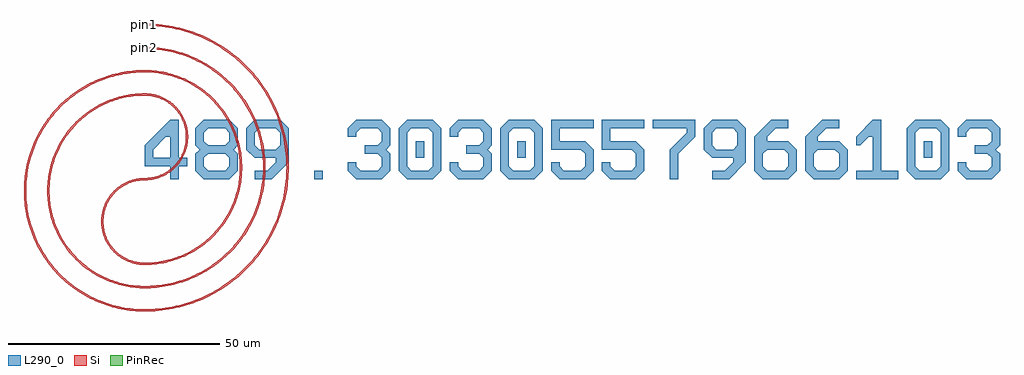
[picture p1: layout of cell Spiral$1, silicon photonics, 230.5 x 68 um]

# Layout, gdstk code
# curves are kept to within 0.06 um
import gdstk
lib = gdstk.Library(unit=1e-6, precision=1e-09)
def R(c, l, rs):  # rectangles x0, y0, x1, y1
    for r in rs: c.add(gdstk.rectangle(r[:2], r[2:], *l))
def P(c, l, *ps):  # polygons
    for p in ps: c.add(gdstk.Polygon(p, *l))
Si = (1, 0)
PinRec = (1, 10)
L290_0 = (290, 0)

spiral_1 = lib.new_cell('Spiral$1')
P(spiral_1, Si, [(0,-0.25),(0,0.25),(1.194,0.323),(2.369,0.542),(3.509,0.903),(4.384,1.291),(5.808,2.169),(7.061,3.277),(8.237,4.784),(9.097,6.491),(9.563,8.098),(9.75,10),(9.563,11.902),(9.097,13.509),(8.237,15.216),(7.061,16.723),(5.808,17.831),(4.384,18.709),(3.509,19.097),(2.369,19.458),(1.194,19.677),(0,19.75),(0,20.25),(1.005,20.201),(2,20.053),(2.975,19.809),(3.923,19.47),(5.695,18.523),(7.248,17.248),(8.523,15.695),(9.47,13.923),(9.809,12.975),(10.053,12),(10.201,11.005),(10.25,10),(10.201,8.995),(10.053,8),(9.809,7.025),(9.47,6.077),(8.523,4.305),(7.248,2.752),(5.695,1.477),(3.923,0.53),(2.975,0.191),(2,-0.053),(1.005,-0.201)],
  [(0,-20.25),(-1.005,-20.201),(-2,-20.053),(-3.923,-19.47),(-5.695,-18.523),(-7.248,-17.248),(-8.523,-15.695),(-9.47,-13.923),(-10.053,-12),(-10.201,-11.005),(-10.25,-10),(-10.201,-8.995),(-10.001,-7.754),(-9.371,-5.846),(-8.792,-4.73),(-8.233,-3.894),(-7.424,-2.932),(-6.695,-2.239),(-5.052,-1.082),(-4.154,-0.629),(-3.215,-0.267),(-1.504,0.139),(0.956,0.297),(2.136,0.487),(3.509,0.903),(4.806,1.517),(6.185,2.463),(7.537,3.815),(8.599,5.404),(9.258,6.942),(9.563,8.098),(9.724,9.283),(9.747,10.239),(9.644,11.431),(9.458,12.369),(9.097,13.509),(8.599,14.596),(7.971,15.614),(7.224,16.548),(6.548,17.224),(5.013,18.363),(3.951,18.914),(2.6,19.397),(1.194,19.677),(0,19.75),(0,20.25),(1.005,20.201),(2,20.053),(3.923,19.47),(5.695,18.523),(7.248,17.248),(8.523,15.695),(9.47,13.923),(10.053,12),(10.201,11.005),(10.25,10),(10.201,8.995),(10.001,7.754),(9.371,5.846),(8.792,4.73),(8.233,3.894),(7.424,2.932),(6.695,2.239),(5.052,1.082),(4.154,0.629),(3.215,0.267),(1.504,-0.139),(-0.956,-0.297),(-2.136,-0.487),(-3.509,-0.903),(-4.806,-1.517),(-6.185,-2.463),(-7.537,-3.815),(-8.599,-5.404),(-9.258,-6.942),(-9.563,-8.098),(-9.724,-9.283),(-9.747,-10.239),(-9.644,-11.431),(-9.458,-12.369),(-9.097,-13.509),(-8.599,-14.596),(-7.971,-15.614),(-7.224,-16.548),(-6.548,-17.224),(-5.013,-18.363),(-3.951,-18.914),(-2.6,-19.397),(-1.194,-19.677),(0,-19.75)],
  [(0,-20.25),(0,-19.75),(2.205,-19.642),(4.39,-19.318),(6.531,-18.781),(9.118,-17.82),(11.09,-16.827),(12.956,-15.646),(14.274,-14.643),(15.91,-13.16),(17.393,-11.524),(18.708,-9.75),(19.843,-7.856),(20.787,-5.86),(21.531,-3.781),(22.068,-1.64),(22.392,0.545),(22.5,2.75),(22.392,4.955),(22.068,7.14),(21.531,9.281),(20.787,11.36),(19.843,13.356),(18.708,15.25),(17.393,17.024),(15.91,18.66),(14.274,20.143),(12.956,21.146),(11.09,22.327),(9.118,23.32),(6.531,24.281),(4.39,24.818),(2.205,25.142),(0,25.25),(0,25.75),(2.254,25.639),(4.487,25.308),(6.677,24.76),(8.802,23.999),(10.842,23.034),(12.778,21.874),(14.591,20.529),(16.263,19.013),(17.779,17.341),(19.124,15.528),(20.284,13.592),(21.249,11.552),(22.01,9.427),(22.558,7.237),(22.889,5.004),(23,2.75),(22.889,0.496),(22.558,-1.737),(22.01,-3.927),(21.249,-6.052),(20.284,-8.092),(19.124,-10.028),(17.779,-11.841),(16.263,-13.513),(14.591,-15.029),(12.778,-16.374),(10.842,-17.534),(8.802,-18.499),(6.677,-19.26),(4.487,-19.808),(2.254,-20.139)],
  [(0,-25.75),(-2.254,-25.639),(-4.487,-25.308),(-6.677,-24.76),(-8.802,-23.999),(-10.842,-23.034),(-12.778,-21.874),(-14.591,-20.529),(-16.263,-19.013),(-17.779,-17.341),(-19.124,-15.528),(-20.284,-13.592),(-21.249,-11.552),(-22.01,-9.427),(-22.558,-7.237),(-22.889,-5.004),(-23,-2.75),(-22.889,-0.496),(-22.558,1.737),(-22.01,3.927),(-21.249,6.052),(-20.284,8.092),(-19.124,10.028),(-17.779,11.841),(-16.263,13.513),(-14.591,15.029),(-12.778,16.374),(-10.842,17.534),(-8.802,18.499),(-6.677,19.26),(-4.487,19.808),(-2.254,20.139),(0,20.25),(0,19.75),(-2.205,19.642),(-4.39,19.318),(-6.531,18.781),(-9.118,17.82),(-11.09,16.827),(-12.956,15.646),(-14.274,14.643),(-15.91,13.16),(-17.393,11.524),(-18.708,9.75),(-19.843,7.856),(-20.787,5.86),(-21.531,3.781),(-22.068,1.64),(-22.392,-0.545),(-22.5,-2.75),(-22.392,-4.955),(-22.068,-7.14),(-21.531,-9.281),(-20.787,-11.36),(-19.843,-13.356),(-18.708,-15.25),(-17.393,-17.024),(-15.91,-18.66),(-14.274,-20.143),(-12.956,-21.146),(-11.09,-22.327),(-9.118,-23.32),(-6.531,-24.281),(-4.39,-24.818),(-2.205,-25.142),(0,-25.25)],
  [(0,-25.75),(0,-25.25),(2.744,-25.115),(4.787,-24.838),(6.135,-24.57),(8.783,-23.837),(11.347,-22.848),(13.801,-21.612),(16.123,-20.142),(18.289,-18.452),(19.799,-17.049),(21.644,-15.013),(23.281,-12.806),(24.694,-10.449),(25.869,-7.965),(26.794,-5.378),(27.462,-2.713),(27.865,0.006),(28,2.75),(27.865,5.494),(27.462,8.213),(26.794,10.878),(25.869,13.465),(24.694,15.949),(23.281,18.306),(21.644,20.513),(19.799,22.549),(18.289,23.952),(16.123,25.642),(13.801,27.112),(11.347,28.348),(8.783,29.337),(6.135,30.07),(4.787,30.338),(2.744,30.615),(0,30.75),(0,31.25),(2.793,31.113),(5.56,30.702),(8.273,30.023),(10.906,29.081),(13.435,27.885),(15.834,26.447),(18.08,24.781),(20.153,22.903),(22.031,20.83),(23.697,18.584),(25.135,16.185),(26.331,13.656),(27.273,11.023),(27.952,8.31),(28.363,5.543),(28.5,2.75),(28.363,-0.043),(27.952,-2.81),(27.273,-5.523),(26.331,-8.156),(25.135,-10.685),(23.697,-13.084),(22.031,-15.33),(20.153,-17.403),(18.08,-19.281),(15.834,-20.947),(13.435,-22.385),(10.906,-23.581),(8.273,-24.523),(5.56,-25.202),(2.793,-25.613)],
  [(0,-31.25),(-2.793,-31.113),(-5.56,-30.702),(-8.273,-30.023),(-10.906,-29.081),(-13.435,-27.885),(-15.834,-26.447),(-18.08,-24.781),(-20.153,-22.903),(-22.031,-20.83),(-23.697,-18.584),(-25.135,-16.185),(-26.331,-13.656),(-27.273,-11.023),(-27.952,-8.31),(-28.363,-5.543),(-28.5,-2.75),(-28.363,0.043),(-27.952,2.81),(-27.273,5.523),(-26.331,8.156),(-25.135,10.685),(-23.697,13.084),(-22.031,15.33),(-20.153,17.403),(-18.08,19.281),(-15.834,20.947),(-13.435,22.385),(-10.906,23.581),(-8.273,24.523),(-5.56,25.202),(-2.793,25.613),(0,25.75),(0,25.25),(-2.744,25.115),(-4.787,24.838),(-6.135,24.57),(-8.783,23.837),(-11.347,22.848),(-13.801,21.612),(-16.123,20.142),(-18.289,18.452),(-19.799,17.049),(-21.644,15.013),(-23.281,12.806),(-24.694,10.449),(-25.869,7.965),(-26.794,5.378),(-27.462,2.713),(-27.865,-0.006),(-28,-2.75),(-27.865,-5.494),(-27.462,-8.213),(-26.794,-10.878),(-25.869,-13.465),(-24.694,-15.949),(-23.281,-18.306),(-21.644,-20.513),(-19.799,-22.549),(-18.289,-23.952),(-16.123,-25.642),(-13.801,-27.112),(-11.347,-28.348),(-8.783,-29.337),(-6.135,-30.07),(-4.787,-30.338),(-2.744,-30.615),(0,-30.75)],
  [(0,-31.25),(0,-30.75),(1.644,-30.71),(4.101,-30.498),(5.727,-30.257),(8.14,-29.746),(11.286,-28.792),(13.576,-27.876),(16.512,-26.398),(19.29,-24.639),(21.252,-23.146),(23.688,-20.938),(25.896,-18.502),(27.854,-15.862),(29.544,-13.042),(30.95,-10.07),(32.058,-6.975),(32.856,-3.786),(33.339,-0.534),(33.5,2.75),(33.339,6.034),(32.856,9.286),(32.058,12.475),(30.95,15.57),(29.544,18.542),(27.854,21.362),(25.896,24.002),(23.688,26.438),(21.252,28.646),(19.29,30.139),(16.512,31.898),(13.576,33.376),(11.286,34.292),(8.14,35.246),(5.727,35.757),(4.101,35.998),(1.644,36.21),(0,36.25),(0,36.75),(3.333,36.586),(6.633,36.097),(9.87,35.286),(13.011,34.162),(16.027,32.735),(18.889,31.02),(21.569,29.032),(24.042,26.792),(26.282,24.319),(28.27,21.639),(29.985,18.777),(31.412,15.761),(32.536,12.62),(33.347,9.383),(33.836,6.083),(34,2.75),(33.836,-0.583),(33.347,-3.883),(32.536,-7.12),(31.412,-10.261),(29.985,-13.277),(28.27,-16.139),(26.282,-18.819),(24.042,-21.292),(21.569,-23.532),(18.889,-25.52),(16.027,-27.235),(13.011,-28.662),(9.87,-29.786),(6.633,-30.597),(3.333,-31.086)])
R(spiral_1, L290_0, [(40,0,42,2), (64,5,66,9), (88,5,90,9), (184,5,186,9)])
P(spiral_1, L290_0, [(6,0),(6,3),(0,3),(0,5),(6,5),(6,10),(5,10),(2,7),(2,5),(0,5),(0,8),(6,14),(8,14),(8,5),(10,5),(10,3),(8,3),(8,0)],
  [(14,0),(12,2),(12,6),(13,7),(12,8),(12,12),(14,14),(20,14),(22,12),(15,12),(14,11),(14,9),(15,8),(19,8),(20,9),(20,11),(19,12),(22,12),(22,8),(21,7),(22,6),(15,6),(14,5),(14,3),(15,2),(19,2),(20,3),(20,5),(19,6),(22,6),(22,2),(20,0)],
  [(26,0),(26,2),(29,2),(31,4),(31,5),(26,5),(24,7),(31,7),(32,8),(32,11),(31,12),(27,12),(26,11),(26,8),(27,7),(24,7),(24,12),(26,14),(32,14),(34,12),(34,4),(30,0)],
  [(50,0),(48,2),(48,4),(50,4),(50,3),(51,2),(55,2),(56,3),(56,5),(55,6),(52,6),(52,8),(55,8),(56,9),(56,11),(55,12),(51,12),(50,11),(50,10),(48,10),(48,12),(50,14),(56,14),(58,12),(58,8),(57,7),(58,6),(58,2),(56,0)],
  [(62,0),(60,2),(60,12),(62,14),(68,14),(70,12),(63,12),(62,11),(62,3),(63,2),(67,2),(68,3),(68,11),(67,12),(70,12),(70,2),(68,0)],
  [(74,0),(72,2),(72,4),(74,4),(74,3),(75,2),(79,2),(80,3),(80,5),(79,6),(76,6),(76,8),(79,8),(80,9),(80,11),(79,12),(75,12),(74,11),(74,10),(72,10),(72,12),(74,14),(80,14),(82,12),(82,8),(81,7),(82,6),(82,2),(80,0)],
  [(86,0),(84,2),(84,12),(86,14),(92,14),(94,12),(87,12),(86,11),(86,3),(87,2),(91,2),(92,3),(92,11),(91,12),(94,12),(94,2),(92,0)],
  [(98,0),(96,2),(96,4),(98,4),(98,3),(99,2),(103,2),(104,3),(104,6),(103,7),(96,7),(96,14),(106,14),(106,12),(98,12),(98,9),(104,9),(106,7),(106,2),(104,0)],
  [(110,0),(108,2),(108,4),(110,4),(110,3),(111,2),(115,2),(116,3),(116,6),(115,7),(108,7),(108,14),(118,14),(118,12),(110,12),(110,9),(116,9),(118,7),(118,2),(116,0)],
  [(124,0),(124,7),(128,11),(128,12),(120,12),(120,14),(130,14),(130,10),(126,6),(126,0)],
  [(134,0),(134,2),(137,2),(139,4),(139,5),(134,5),(132,7),(139,7),(140,8),(140,11),(139,12),(135,12),(134,11),(134,8),(135,7),(132,7),(132,12),(134,14),(140,14),(142,12),(142,4),(138,0)],
  [(146,0),(144,2),(144,10),(148,14),(152,14),(152,12),(149,12),(147,10),(147,9),(152,9),(154,7),(147,7),(146,6),(146,3),(147,2),(151,2),(152,3),(152,6),(151,7),(154,7),(154,2),(152,0)],
  [(158,0),(156,2),(156,10),(160,14),(164,14),(164,12),(161,12),(159,10),(159,9),(164,9),(166,7),(159,7),(158,6),(158,3),(159,2),(163,2),(164,3),(164,6),(163,7),(166,7),(166,2),(164,0)],
  [(168,0),(168,2),(172,2),(172,10),(171,10),(169,8),(168,8),(168,10),(172,14),(174,14),(174,2),(178,2),(178,0)],
  [(182,0),(180,2),(180,12),(182,14),(188,14),(190,12),(183,12),(182,11),(182,3),(183,2),(187,2),(188,3),(188,11),(187,12),(190,12),(190,2),(188,0)],
  [(194,0),(192,2),(192,4),(194,4),(194,3),(195,2),(199,2),(200,3),(200,5),(199,6),(196,6),(196,8),(199,8),(200,9),(200,11),(199,12),(195,12),(194,11),(194,10),(192,10),(192,12),(194,14),(200,14),(202,12),(202,8),(201,7),(202,6),(202,2),(200,0)])
spiral_1.add(gdstk.FlexPath([(0.05,36.5),(-0.05,36.5)], 0.5, ends="flush", simple_path=True, layer=1, datatype=10))  # PinRec
spiral_1.add(gdstk.FlexPath([(0.05,31),(-0.05,31)], 0.5, ends="flush", simple_path=True, layer=1, datatype=10))  # PinRec
spiral_1.add(gdstk.Label('pin1', (0,36.5), layer=1, texttype=10))
spiral_1.add(gdstk.Label('pin2', (0,31), layer=1, texttype=10))

lib.write_gds('Spiral_1.gds')
